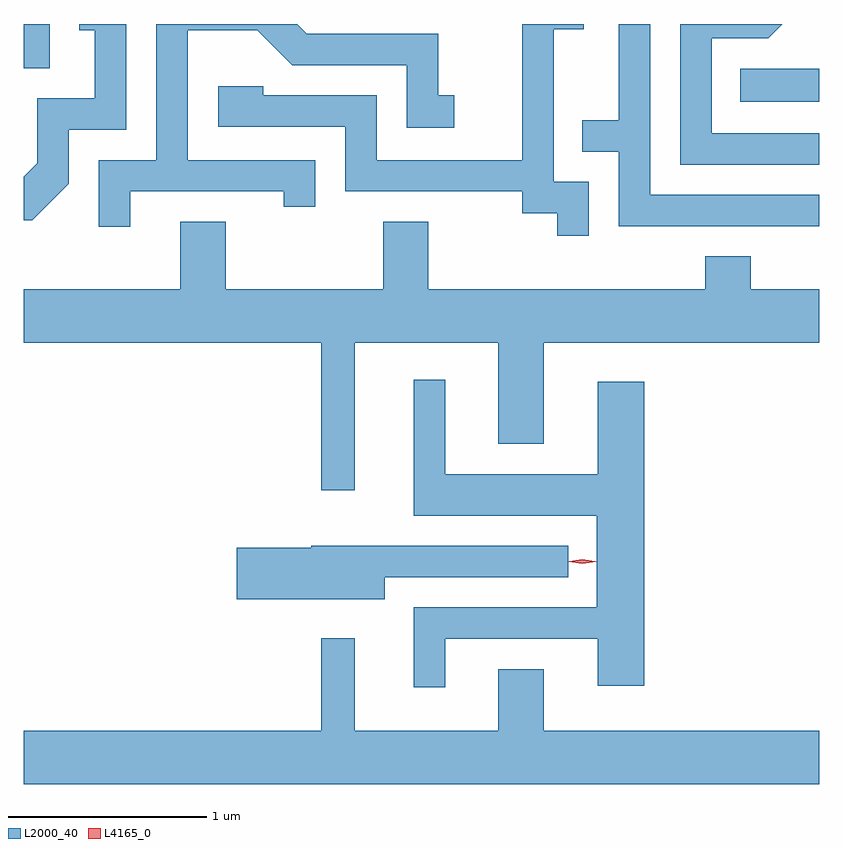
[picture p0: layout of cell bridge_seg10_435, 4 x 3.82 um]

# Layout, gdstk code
import gdstk
lib = gdstk.Library(unit=1e-6, precision=1e-09)
def R(c, l, rs):  # rectangles x0, y0, x1, y1
    for r in rs: c.add(gdstk.rectangle(r[:2], r[2:], *l))
def P(c, l, *ps):  # polygons
    for p in ps: c.add(gdstk.Polygon(p, *l))
L2000_40 = (2000, 40)
L4165_0 = (4165, 0)

bridge_seg10_435 = lib.new_cell('bridge_seg10_435')
R(bridge_seg10_435, L2000_40, [(1465.838,2119.566,1466.234,2119.734), (1462.234,2119.736,1462.364,2119.958)])
P(bridge_seg10_435, L2000_40, [(1465.074,2119.164),(1464.899,2119.164),(1464.899,2119.931),(1465.049,2119.931),(1465.049,2119.958),(1464.741,2119.958),(1464.741,2119.274),(1464.009,2119.274),(1464.009,2119.599),(1463.439,2119.599),(1463.439,2119.644),(1463.211,2119.644),(1463.211,2119.441),(1463.851,2119.441),(1463.851,2119.116),(1464.741,2119.116),(1464.741,2119.006),(1464.916,2119.006),(1464.916,2118.893),(1465.074,2118.893)],
  [(1462.769,2119.116),(1463.541,2119.116),(1463.541,2119.038),(1463.699,2119.038),(1463.699,2119.274),(1463.059,2119.274),(1463.059,2119.926),(1463.409,2119.926),(1463.584,2119.751),(1464.161,2119.751),(1464.161,2119.436),(1464.398,2119.436),(1464.398,2119.599),(1464.319,2119.599),(1464.319,2119.909),(1463.657,2119.909),(1463.608,2119.958),(1462.901,2119.958),(1462.901,2119.274),(1462.611,2119.274),(1462.611,2118.938),(1462.769,2118.938)],
  [(1462.459,2119.154),(1462.459,2119.426),(1462.749,2119.426),(1462.749,2119.958),(1462.513,2119.958),(1462.513,2119.926),(1462.591,2119.926),(1462.591,2119.584),(1462.301,2119.584),(1462.301,2119.257),(1462.234,2119.189),(1462.234,2118.971),(1462.277,2118.971)],
  [(1466.234,2119.409),(1465.694,2119.409),(1465.694,2119.886),(1465.977,2119.886),(1466.049,2119.958),(1465.536,2119.958),(1465.536,2119.251),(1466.234,2119.251)],
  [(1466.234,2119.099),(1465.384,2119.099),(1465.384,2119.958),(1465.226,2119.958),(1465.226,2119.474),(1465.043,2119.474),(1465.043,2119.316),(1465.226,2119.316),(1465.226,2118.941),(1466.234,2118.941)],
  [(1463.899,2118.356),(1464.621,2118.356),(1464.621,2117.846),(1464.849,2117.846),(1464.849,2118.356),(1466.234,2118.356),(1466.234,2118.624),(1465.889,2118.624),(1465.889,2118.789),(1465.661,2118.789),(1465.661,2118.624),(1464.269,2118.624),(1464.269,2118.964),(1464.041,2118.964),(1464.041,2118.624),(1463.249,2118.624),(1463.249,2118.964),(1463.021,2118.964),(1463.021,2118.624),(1462.234,2118.624),(1462.234,2118.356),(1463.731,2118.356),(1463.731,2117.613),(1463.899,2117.613)],
  [(1464.354,2116.866),(1465.121,2116.866),(1465.121,2116.631),(1465.354,2116.631),(1465.354,2118.159),(1465.121,2118.159),(1465.121,2117.694),(1464.354,2117.694),(1464.354,2118.168),(1464.196,2118.168),(1464.196,2117.486),(1465.116,2117.486),(1465.116,2117.024),(1464.196,2117.024),(1464.196,2116.623),(1464.354,2116.623)],
  [(1464.049,2117.176),(1464.973,2117.176),(1464.973,2117.334),(1463.68,2117.334),(1463.68,2117.324),(1463.306,2117.324),(1463.306,2117.066),(1464.049,2117.066)],
  [(1466.234,2116.404),(1464.849,2116.404),(1464.849,2116.714),(1464.621,2116.714),(1464.621,2116.404),(1463.899,2116.404),(1463.899,2116.868),(1463.731,2116.868),(1463.731,2116.404),(1462.234,2116.404),(1462.234,2116.136),(1466.234,2116.136)])
P(bridge_seg10_435, L4165_0, [(1465.043,2117.245),(1464.977,2117.254),(1464.977,2117.255),(1464.977,2117.256),(1465.043,2117.265),(1465.109,2117.256),(1465.109,2117.255),(1465.109,2117.254)],
  [(1465.043,2117.244),(1464.974,2117.253),(1464.974,2117.254),(1464.974,2117.254),(1465.043,2117.264),(1465.112,2117.254),(1465.113,2117.254),(1465.112,2117.253)])

lib.write_gds('bridge_seg10_435.gds')
